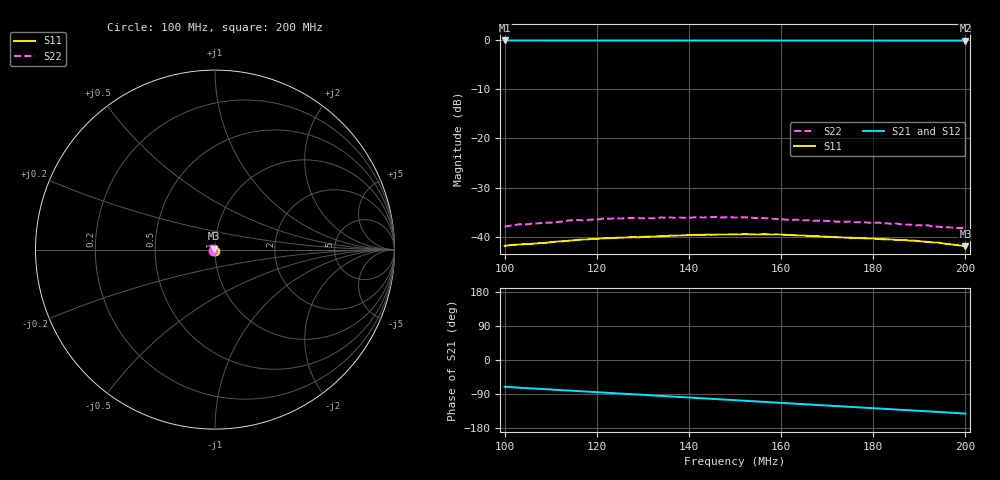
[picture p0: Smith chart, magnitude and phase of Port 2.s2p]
! RsaToolbox (C) 2014 Rohde & Schwarz America
! Number of points: 101
! Number of ports: 2
! Balanced ports?: No
# Hz S RI R 50
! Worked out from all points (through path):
!   101 points, 100 MHz to 200 MHz, reference 50 ohm
!   highest |S21| = -0.07 dB at 100 MHz (marker M1); lowest = -0.1 dB at 200 MHz (marker M2)
!   group delay of S21, straight-line fit = 1.96 ns
!   lowest |S11| = -41.9 dB at 200 MHz (marker M3), VSWR 1.02, Z = 49.3 + j0.448 ohm
!   |S11| at or under -10 dB: start of sweep to end of sweep
!   |S22| runs from -38.2 to -36.0 dB; largest |S21 - S12| = 0
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1e8  -0.00225 -0.00777  0.3265 -0.9366  0.3265 -0.9366  -0.00851 -0.00945
1.04e8  -0.0029 -0.00788  0.2799 -0.9514  0.2799 -0.9514  -0.00967 -0.00941
1.05e8  -0.00303 -0.00787  0.2682 -0.9547  0.2682 -0.9547  -0.00981 -0.00912
1.1e8  -0.00403 -0.00783  0.2088 -0.9693  0.2088 -0.9693  -0.011 -0.0085
1.14e8  -0.00482 -0.00775  0.1608 -0.9783  0.1608 -0.9783  -0.0122 -0.00812
1.17e8  -0.00535 -0.00769  0.1245 -0.9835  0.1245 -0.9835  -0.0126 -0.00752
1.2e8  -0.00591 -0.00746  0.0881 -0.9873  0.0881 -0.9873  -0.0132 -0.00692
1.21e8  -0.00603 -0.00749  0.0759 -0.9883  0.0759 -0.9883  -0.0136 -0.00689
1.33e8  -0.00779 -0.00642  -0.0703 -0.9885  -0.0703 -0.9885  -0.0148 -0.00444
1.34e8  -0.00798 -0.00624  -0.0825 -0.9875  -0.0825 -0.9875  -0.0152 -0.00421
1.5e8  -0.00977 -0.00406  -0.2737 -0.9518  -0.2737 -0.9518  -0.0157 -0.00117
1.52e8  -0.00995 -0.00376  -0.2971 -0.9447  -0.2971 -0.9447  -0.0158 -0.000921
1.59e8  -0.0103 -0.00253  -0.3774 -0.9153  -0.3774 -0.9153  -0.0152 0.000375
1.67e8  -0.0101 -0.00106  -0.4657 -0.8734  -0.4657 -0.8734  -0.0144 0.00227
1.75e8  -0.00977 0.000495  -0.5488 -0.8235  -0.5488 -0.8235  -0.0138 0.00396
1.84e8  -0.00913 0.00216  -0.636 -0.7578  -0.636 -0.7578  -0.0125 0.00533
1.85e8  -0.009 0.00233  -0.6452 -0.75  -0.6452 -0.75  -0.0125 0.00558
1.89e8  -0.00862 0.00302  -0.6812 -0.7173  -0.6812 -0.7173  -0.0116 0.0061
1.92e8  -0.00812 0.0035  -0.7074 -0.6916  -0.7074 -0.6916  -0.0113 0.00673
1.93e8  -0.00796 0.00365  -0.7156 -0.6828  -0.7156 -0.6828  -0.0108 0.00651
1.94e8  -0.00791 0.00376  -0.724 -0.6738  -0.724 -0.6738  -0.0107 0.00674
2e8  -0.00662 0.00454  -0.772 -0.6177  -0.772 -0.6177  -0.00994 0.00718
